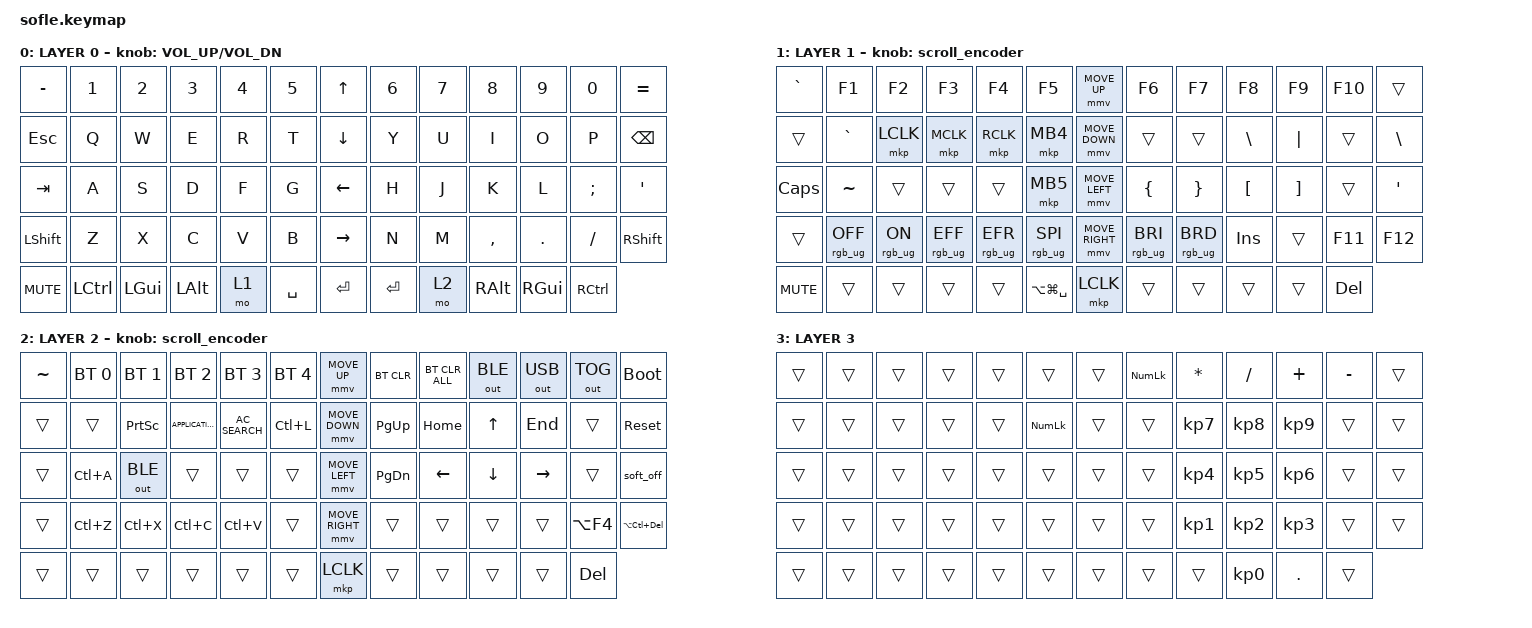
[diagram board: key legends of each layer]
#include <behaviors/mouse_keys.dtsi>
#include <dt-bindings/zmk/mouse.h>
#include <behaviors.dtsi>
#include <dt-bindings/zmk/bt.h>
#include <dt-bindings/zmk/keys.h>
#include <dt-bindings/zmk/outputs.h>
#include <dt-bindings/zmk/pointing.h>
#include <dt-bindings/zmk/rgb.h>

#define ZMK_MOUSE_DEFAULT_MOVE_VAL 1200  // 600
#define ZMK_MOUSE_DEFAULT_SCRL_VAL 20    // 10
#define U_MS_U &mmv MOVE_UP
#define U_MS_D &mmv MOVE_DOWN
#define U_MS_L &mmv MOVE_LEFT
#define U_MS_R &mmv MOVE_RIGHT
#define ZMK_MOUSE_DEFAULT_MOVE_VAL 1200  //  600
#define ZMK_MOUSE_DEFAULT_SCRL_VAL 20    // 10

/ {
    behaviors {
        mmv {
            acceleration-exponent = <1>;      // 1
            time-to-max-speed-ms = <900>;    // 40
            delay-ms = <0>;                   // 0
        };

        msc {
            acceleration-exponent = <1>;      // 0
            time-to-max-speed-ms = <400>;      // 500
            delay-ms = <0>;                   //   10
        };
    };

    scroll_encoder: scroll_encoder {
        compatible = "zmk,behavior-sensor-rotate";
        #sensor-binding-cells = <0>;
        bindings = <&msc SCRL_DOWN>, <&msc SCRL_UP>;

        tap-ms = <30>;
    };

    TapAndHold: TapAndHold {
        compatible = "zmk,behavior-hold-tap";
        label = "TAPANDHOLD";
        bindings = <&mo>, <&kp>;

        #binding-cells = <2>;
        tapping-term-ms = <200>;
        flavor = "balanced";
    };

    keymap {
        compatible = "zmk,keymap";

        layer0 {
            bindings = <
&kp MINUS   &kp N1     &kp N2        &kp N3        &kp N4  &kp N5       &kp UP_ARROW     &kp N6     &kp N7  &kp N8         &kp N9    &kp N0             &kp EQUAL
&kp ESCAPE  &kp Q      &kp W         &kp E         &kp R   &kp T        &kp DOWN_ARROW   &kp Y      &kp U   &kp I          &kp O     &kp P              &kp BACKSPACE
&kp TAB     &kp A      &kp S         &kp D         &kp F   &kp G        &kp LEFT_ARROW   &kp H      &kp J   &kp K          &kp L     &kp SEMI           &kp APOSTROPHE
&kp LSHFT   &kp Z      &kp X         &kp C         &kp V   &kp B        &kp RIGHT_ARROW  &kp N      &kp M   &kp COMMA      &kp DOT   &kp FSLH           &kp RIGHT_SHIFT
&kp C_MUTE  &kp LCTRL  &kp LEFT_GUI  &kp LEFT_ALT  &mo 1   &kp SPACE    &kp ENTER        &kp ENTER  &mo 2   &kp RIGHT_ALT  &kp RGUI  &kp RIGHT_CONTROL
            >;

            sensor-bindings = <&inc_dec_kp C_VOLUME_UP C_VOL_DN>;
            display-name = "LAYER 0";
        };

        layer_1 {
            bindings = <
&kp GRAVE   &kp F1           &kp F2          &kp F3           &kp F4           &kp F5               &mmv MOVE_UP     &kp F6           &kp F7           &kp F8            &kp F9             &kp F10     &trans
&trans      &kp GRAVE        &mkp LCLK       &mkp MCLK        &mkp RCLK        &mkp MB4             &mmv MOVE_DOWN   &trans           &trans           &kp BACKSLASH     &kp PIPE           &trans      &kp BACKSLASH
&kp CAPS    &kp TILDE        &trans          &trans           &trans           &mkp MB5             &mmv MOVE_LEFT   &kp LEFT_BRACE   &kp RIGHT_BRACE  &kp LEFT_BRACKET  &kp RIGHT_BRACKET  &trans      &kp APOSTROPHE
&trans      &rgb_ug RGB_OFF  &rgb_ug RGB_ON  &rgb_ug RGB_EFF  &rgb_ug RGB_EFR  &rgb_ug RGB_SPI      &mmv MOVE_RIGHT  &rgb_ug RGB_BRI  &rgb_ug RGB_BRD  &kp INSERT        &trans             &kp F11     &kp F12
&kp C_MUTE  &trans           &trans          &trans           &trans           &kp LA(LG(SPACE))    &mkp LCLK        &trans           &trans           &trans            &trans             &kp DELETE
            >;

            display-name = "LAYER 1";
            sensor-bindings = <&scroll_encoder>;
        };

        layer_2 {
            bindings = <
&kp TILDE  &bt BT_SEL 0  &bt BT_SEL 1     &bt BT_SEL 2       &bt BT_SEL 3     &bt BT_SEL 4    &mmv MOVE_UP     &bt BT_CLR     &bt BT_CLR_ALL  &out OUT_BLE  &out OUT_USB  &out OUT_TOG  &bootloader
&trans     &trans        &kp PRINTSCREEN  &kp K_APPLICATION  &kp C_AC_SEARCH  &kp LC(L)       &mmv MOVE_DOWN   &kp PAGE_UP    &kp HOME        &kp UP        &kp END       &trans        &sys_reset
&trans     &kp LC(A)     &out OUT_BLE     &trans             &trans           &trans          &mmv MOVE_LEFT   &kp PAGE_DOWN  &kp LEFT        &kp DOWN      &kp RIGHT     &trans        &soft_off
&trans     &kp LC(Z)     &kp LC(X)        &kp LC(C)          &kp LC(V)        &trans          &mmv MOVE_RIGHT  &trans         &trans          &trans        &trans        &kp LA(F4)    &kp LA(LC(DEL))
&trans     &trans        &trans           &trans             &trans           &trans          &mkp LCLK        &trans         &trans          &trans        &trans        &kp DEL
            >;

            sensor-bindings = <&scroll_encoder>;
            label = "LAYER 2";
        };

        layer_3 {
            bindings = <
&trans  &trans  &trans  &trans  &trans  &trans            &trans  &kp KP_NUMLOCK  &kp STAR         &kp SLASH        &kp PLUS         &kp MINUS  &trans
&trans  &trans  &trans  &trans  &trans  &kp KP_NUMLOCK    &trans  &trans          &kp KP_NUMBER_7  &kp KP_NUMBER_8  &kp KP_NUMBER_9  &trans     &trans
&trans  &trans  &trans  &trans  &trans  &trans            &trans  &trans          &kp KP_N4        &kp KP_N5        &kp KP_N6        &trans     &trans
&trans  &trans  &trans  &trans  &trans  &trans            &trans  &trans          &kp KP_N1        &kp KP_N2        &kp KP_N3        &trans     &trans
&trans  &trans  &trans  &trans  &trans  &trans            &trans  &trans          &trans           &kp KP_N0        &kp DOT          &trans
            >;

            label = "LAYER 3";
        };
    };

    conditional_layers {
        compatible = "zmk,conditional-layers";

        adj {
            if-layers = <1 2>;
            then-layer = <3>;
        };
    };
};
